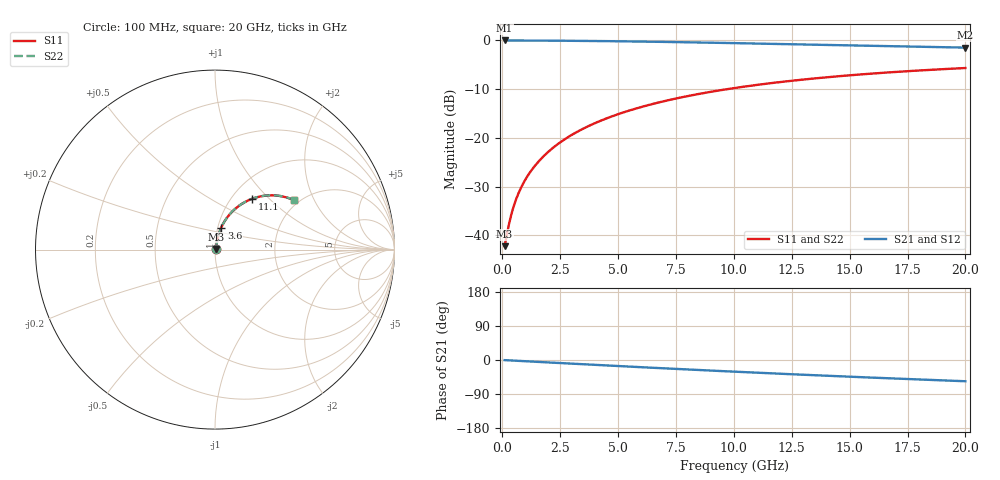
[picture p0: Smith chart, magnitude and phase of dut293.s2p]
! Touchstone file exported from HFSS 2026.1.0
!  File:  C:/ffzhzh/LocalFiles/Ansys_Project_Files/temp_train_TMRDL_293_1782985543_45328.aedt
!  Generated:  05:47:08 PM Jul  2, 2026
!  Design:  TMRDL
!  Project:  temp_train_TMRDL_293_1782985543_45328
! Variables:
!  h_bsmrdl = 2um
!  h_ox = 20um
!  h_rdl = 5um
!  h_sub = 80um
!  h_tmrdl = 3.08um
!  h_tsv = 80um
!  h_via = 3um
!  l_bsmrdl = 300um
!  l_sub = 1251.71um
!  l_tmrdl = 851.71um
!  m_sub = 200um
!  pitch = 39.94um
!  r_tsv = 6um
!  s_tmrdl = 10um
!  w_bsmrdl = 18um
!  w_sub = 500um
!  w_tmrdl = 14.65um
!  x_tsv_center1 = 859.035um
!  x_tsv_center2 = 1177.035um
!  x_tsv_center3 = 2043.395um
!  x_tsv_center4 = 2361.395um
!  x_tsv_center5 = 3227.755um
!  x_tsv_center6 = 3545.755um
# GHz S MA R 50.000000
! Terminal data exported
! Port[1] = TM_RDL1_1_T1
! Port[2] = TM_RDL1_1_T2
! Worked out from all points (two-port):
!   200 points, 100 MHz to 20 GHz, reference 50 ohm
!   highest |S21| = -0.06 dB at 100 MHz (marker M1); lowest = -1.5 dB at 20 GHz (marker M2)
!   |S21| within 3 dB of the highest: start of sweep to end of sweep
!   lowest |S11| = -42.2 dB at 100 MHz (marker M3), VSWR 1.02, Z = 50.7 + j0.386 ohm
!   |S11| at or under -10 dB: start of sweep to 9.764 GHz
!   |S22| runs from -42.2 to -5.7 dB; largest |S21 - S12| = 2.7e-15
!   S11 on the Smith chart (normalised r, x): 100 MHz: 1.01, +0.01; 3.6 GHz: 1.04, +0.26; 11.1 GHz: 1.24, +0.80; 20 GHz: 1.87, +1.41
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0.1  0.007745 29.5  0.9933 -0.3  0.9933 -0.3  0.007745 29.5
! Gamma 0 0 0 0
! Port Impedance 50 0 50 0
0.3  0.01339 57.4  0.9929 -1.0  0.9929 -1.0  0.01339 57.4
0.4  0.01671 63.2  0.9927 -1.3  0.9927 -1.3  0.01671 63.2
0.5  0.02011 66.9  0.9925 -1.7  0.9925 -1.7  0.02011 66.9
0.6  0.02354 69.4  0.9922 -2.0  0.9922 -2.0  0.02354 69.4
0.8  0.03044 72.6  0.9918 -2.6  0.9918 -2.6  0.03043 72.6
1  0.03736 74.4  0.9914 -3.3  0.9914 -3.3  0.03736 74.5
1.2  0.04432 75.6  0.991 -3.9  0.991 -3.9  0.04432 75.6
1.7  0.06177 76.7  0.9898 -5.5  0.9898 -5.5  0.06177 76.7
2.2  0.07924 76.6  0.9883 -7.1  0.9883 -7.1  0.07923 76.7
2.8  0.1001 75.9  0.9861 -9.0  0.9861 -9.0  0.1001 75.9
3.5  0.1241 74.5  0.983 -11.2  0.983 -11.2  0.1241 74.5
3.6  0.1276 74.2  0.9825 -11.6  0.9825 -11.6  0.1276 74.2
4.3  0.1512 72.5  0.9788 -13.8  0.9788 -13.8  0.1512 72.5
5  0.1743 70.7  0.9745 -15.9  0.9745 -15.9  0.1743 70.7
6.8  0.2314 65.7  0.9614 -21.4  0.9614 -21.4  0.2314 65.7
8.3  0.2758 61.5  0.9487 -25.9  0.9487 -25.9  0.2758 61.6
10.1  0.3251 56.5  0.932 -31.0  0.932 -31.0  0.3251 56.6
11.1  0.3505 53.8  0.9223 -33.8  0.9223 -33.8  0.3505 53.9
13.4  0.4037 47.8  0.8996 -40.0  0.8996 -40.0  0.4037 47.9
16.7  0.4677 39.7  0.8678 -48.3  0.8678 -48.3  0.4677 39.8
20  0.5183 32.1  0.8388 -56.1  0.8388 -56.1  0.5183 32.3
